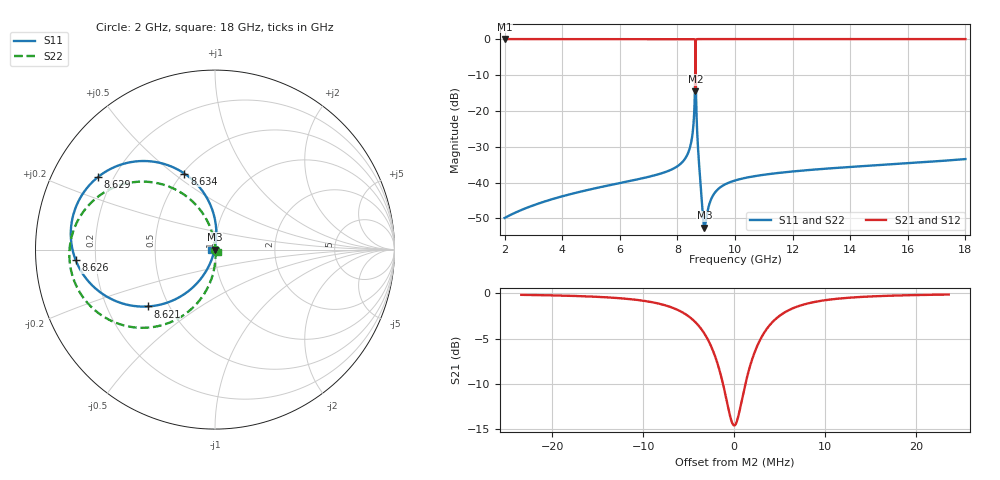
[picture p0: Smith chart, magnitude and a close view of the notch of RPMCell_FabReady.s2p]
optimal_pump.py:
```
"""Print the phase-matched pump frequency for the TWPA in transientNetlist.cir.

Usage:
    python optimal_pump.py --ip 3        # 3 uA peak in the line (6 uA source amplitude in the .cir)
"""
import argparse
import os

import numpy as np

# Line parameters, matching transientNetlist.cir
IC = 5e-6           # jjmod icrit
CJ = 240.522e-15    # jjmod cap
C_SHUNT = 26e-15    # C1, C2, ... to ground
CELLS_PER_RPM = 20  # 19 junction cells + 1 RPM cell per supercell
PHI0 = 2.067833848e-15
Z_REF = 50.0


def rpm_abcd(filename):
    """Frequencies and ABCD matrices of the RPM cell from its touchstone file (GHz S MA R 50)."""
    d = np.loadtxt(filename, comments=["!", "#"])
    f = d[:, 0] * 1e9
    S11, S21, S12, S22 = (d[:, k] * np.exp(1j * np.deg2rad(d[:, k + 1])) for k in (1, 3, 5, 7))
    den = 2 * S21
    abcd = np.empty((len(f), 2, 2), dtype=complex)
    abcd[:, 0, 0] = ((1 + S11) * (1 - S22) + S12 * S21) / den
    abcd[:, 0, 1] = Z_REF * ((1 + S11) * (1 + S22) - S12 * S21) / den
    abcd[:, 1, 0] = ((1 - S11) * (1 - S22) - S12 * S21) / (Z_REF * den)
    abcd[:, 1, 1] = ((1 - S11) * (1 + S22) + S12 * S21) / den
    return f, abcd


def dispersion(f, rpm):
    """Bloch phase per cell of the supercell (19 junction cells, then the RPM cell)."""
    w = 2 * np.pi * f
    L0 = PHI0 / (2 * np.pi * IC)
    Z = 1 / (1j * w * CJ + 1 / (1j * w * L0))  # series junction
    Y = 1j * w * C_SHUNT                        # shunt cap
    cell = np.empty((len(f), 2, 2), dtype=complex)
    cell[:, 0, 0] = 1 + Z * Y
    cell[:, 0, 1] = Z
    cell[:, 1, 0] = Y
    cell[:, 1, 1] = 1
    M = np.linalg.matrix_power(cell, CELLS_PER_RPM - 1) @ rpm
    cos_k = ((M[:, 0, 0] + M[:, 1, 1]) / 2).real
    return np.arccos(np.clip(cos_k, -1, 1)) / CELLS_PER_RPM, np.abs(cos_k) > 1


def main():
    here = os.path.dirname(os.path.abspath(__file__))
    parser = argparse.ArgumentParser(description=__doc__,
                                     formatter_class=argparse.RawDescriptionHelpFormatter)
    parser.add_argument("--ip", type=float, required=True, help="peak pump current in the line, uA")
    parser.add_argument("--fs", type=float, default=5.0, help="reference signal frequency, GHz")
    parser.add_argument("--s2p", default=os.path.join(here, "RPMCell_FabReady.s2p"))
    args = parser.parse_args()

    Ip = args.ip * 1e-6
    fs = args.fs * 1e9
    Xi = 1 / (2 * IC**2)  # L(I) ~ L0 (1 + I^2 / (2 Ic^2))

    f, rpm = rpm_abcd(args.s2p)
    beta, stopband = dispersion(f, rpm)

    # Search below the RPM stop band, and high enough that the idler is also below it
    f_gap = f[stopband & (f > fs)].min()
    fp = np.linspace((f_gap + fs) / 2, f_gap, 200001)[1:-1]
    beta_p = np.interp(fp, f, beta)

    # Linear mismatch (2 fp = fs + fi) minus pump self-phase modulation
    delta_beta = (2 * beta_p - np.interp(fs, f, beta) - np.interp(2 * fp - fs, f, beta)
                  - 0.25 * beta_p * Ip**2 * Xi)

    crossings = np.where(np.sign(delta_beta[:-1]) * np.sign(delta_beta[1:]) < 0)[0]
    if crossings.size == 0:
        raise SystemExit("No phase-matched pump found below the RPM stop band")
    i = crossings[-1]  # the crossing closest to the RPM resonance
    f_pump = fp[i] - delta_beta[i] * (fp[i + 1] - fp[i]) / (delta_beta[i + 1] - delta_beta[i])
    print(f"{f_pump / 1e9:.4f}e9")


if __name__ == "__main__":
    main()
```
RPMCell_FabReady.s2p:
! Sonnet Data File
! From: sonnet Version : 18.58
! From Emgraph Data:
! Data File Written: 12/12/2024 12:04:15
!< HDATE 12/12/2024 11:53:10
!< MDATE 12/12/2024 11:53:10
!< PARAMS
!< R_Cap_area = 4325.0
!< Cr_X = 115.5
!< capS = 10.0
!< END PARAMS
# GHZ S MA R 50.00000
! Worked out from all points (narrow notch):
!   758 points, 2 GHz to 18 GHz, reference 50 ohm
!   highest |S21| = 0.00 dB at 2 GHz (marker M1); lowest = -14.6 dB at 8.627 GHz (marker M2)
!   notch at M2: 14.5 dB deep, 3.95 MHz wide at half that depth
!   lowest |S11| = -52.6 dB at 8.941 GHz (marker M3), VSWR 1.00, Z = 49.8 + j0.0484 ohm
!   |S11| at or under -10 dB: start of sweep to 8.616 GHz; 8.638 GHz to end of sweep
!   |S22| runs from -52.9 to -1.8 dB; largest |S21 - S12| = 2.5e-09
!   S11 on the Smith chart (normalised r, x): 2 GHz: 1.00, -0.01; 8.621 GHz: 0.38, -0.32; 8.626 GHz: 0.12, -0.04; 8.629 GHz: 0.14, +0.28; 8.634 GHz: 0.51, +0.55; 18 GHz: 0.96, -0.01
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2  0.003217 -94.8  1 -1.2  1 -1.2  0.003216 -87.6
8.091066  0.01801 -108.9  0.9998 -5.2  0.9998 -5.2  0.01801 -81.7
8.497864  0.04017 -108.1  0.999 -6.7  0.999 -6.7  0.04015 -86.0
8.621189  0.4911 -139.8  0.8076 -33.6  0.8076 -33.6  0.4906 -122.9
8.625967  0.7791 -175.9  0.3416 -46.2  0.3416 -46.2  0.7783 -159.3
8.627357  0.8132 167.3  0.1872 -5.0  0.1872 -5.0  0.8124 -176.2
8.628947  0.767 148.2  0.3729 37.8  0.3729 37.8  0.7662 164.6
8.63394  0.4568 111.9  0.8316 22.4  0.8316 22.4  0.4563 128.0
8.940668  0.002357 168.1  1 -4.7  1 -4.7  0.002273 2.5
10  0.01071 -122.0  0.9999 -5.9  0.9999 -5.9  0.0107 -69.9
18  0.02128 -167.0  0.9998 -11.7  0.9998 -11.7  0.02125 -36.5
